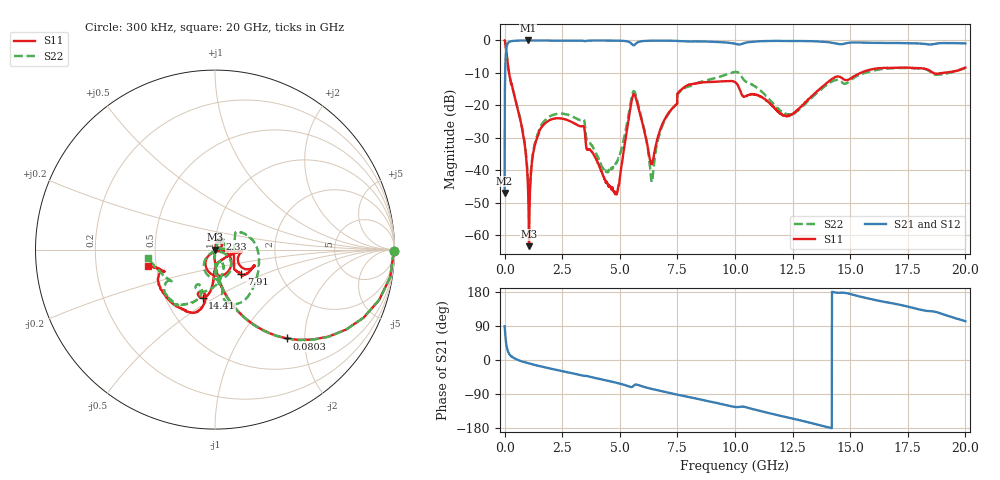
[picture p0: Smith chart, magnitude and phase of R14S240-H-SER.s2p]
!{R14S240}
!Johanson Technology Inc.
!www.johansontechnology.com
!Test Board Conditions:
!Substrate Type  RO4350B
!Substrate Thickness  20 mil
!Substrate Dk  3.66
!TL Type: GCPW
!TL Trace Width  36 mil
!TL Gap  12 mil
!Electrode orientation  Horizontal
!DUT TOPOLOGY	SERIES
!Mounting Pad LxW  26x36 mil
! Created Wed Nov 25 17:33:21 2020
! 2 Port Network Data from SP1.SP block
! freq  magS11  angS11  magS21  angS21  magS12  angS12  magS22  angS22
# khz S ma R 50
! decimated to every 10th point (10 MHz spacing) of the original 1 MHz Johanson file; values unchanged
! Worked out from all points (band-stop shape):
!   2001 points, 300 kHz to 20 GHz, reference 50 ohm
!   highest |S21| = -0.01 dB at 1.02 GHz (marker M1); lowest = -46.9 dB at 300 kHz (marker M2)
!   |S21| within 3 dB of the highest: 67.36 MHz to end of sweep
!   lowest |S11| = -63.3 dB at 1.06 GHz (marker M3), VSWR 1.00, Z = 49.9 + j0.0103 ohm
!   |S11| at or under -10 dB: 193.9 MHz to 15.46 GHz (15.27 GHz wide, 195 % of centre); 18.62 GHz to 19.05 GHz (430.4 MHz wide, 2.29 % of centre)
!   |S22| runs from -48.9 to 0.0 dB; largest |S21 - S12| = 0.02
!   S11 on the Smith chart (normalised r, x): 300 kHz: open; 80.3 MHz: 0.98, -1.64; 2.33 GHz: 1.05, +0.12; 7.91 GHz: 1.28, -0.37; 14.41 GHz: 0.76, -0.44; 20 GHz: 0.45, -0.10
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300  0.9972 -0.3  0.004499 89.0  0.004457 88.6  0.9952 -0.5
80300  0.6368 -51.0  0.7678 38.8  0.7686 38.8  0.6381 -51.0
110300  0.513 -59.9  0.8551 29.9  0.8555 29.9  0.5153 -59.9
180300  0.3384 -71.5  0.9376 18.2  0.9386 18.1  0.3408 -71.5
800300  0.03676 -94.3  0.9976 -4.7  0.9976 -4.8  0.03838 -90.8
1020300  0.004747 -104.7  0.999 -8.6  0.9976 -8.6  0.006422 -68.4
1060300  0.0006808 171.3  0.9982 -9.3  0.9974 -9.3  0.003608 -15.6
1490300  0.03687 78.9  0.9969 -15.8  0.9972 -15.8  0.03995 65.3
2330300  0.06338 64.6  0.9924 -27.1  0.9917 -27.2  0.0745 60.8
3340300  0.04767 52.4  0.9924 -40.6  0.9918 -40.5  0.05939 40.7
4300300  0.007979 88.7  0.9939 -52.4  0.9952 -52.4  0.01033 -16.8
4800300  0.004378 99.4  0.9928 -59.3  0.9939 -59.3  0.01228 -55.0
5590300  0.1471 -66.8  0.8421 -68.5  0.842 -68.6  0.1646 -73.5
6370300  0.01258 -76.9  0.99 -76.0  0.9894 -76.0  0.007068 -88.2
6670300  0.03414 -11.7  0.9913 -80.2  0.9903 -80.3  0.03072 3.8
7910300  0.2014 -43.3  0.9682 -97.0  0.9667 -96.9  0.1916 25.9
1.00003e7  0.2281 -27.4  0.8904 -124.0  0.8887 -123.9  0.3274 -61.8
1.22603e7  0.06885 -58.7  0.979 -151.3  0.981 -151.2  0.07317 -72.4
1.33403e7  0.1393 -92.3  0.9716 -166.9  0.9738 -166.8  0.1319 -70.6
1.44103e7  0.2768 -104.5  0.8925 177.7  0.8953 177.6  0.2468 -110.0
1.66703e7  0.3751 -115.8  0.9139 151.4  0.9052 151.1  0.3738 -123.8
2e7  0.3815 -166.3  0.8964 102.4  0.896 102.9  0.376 -172.8
